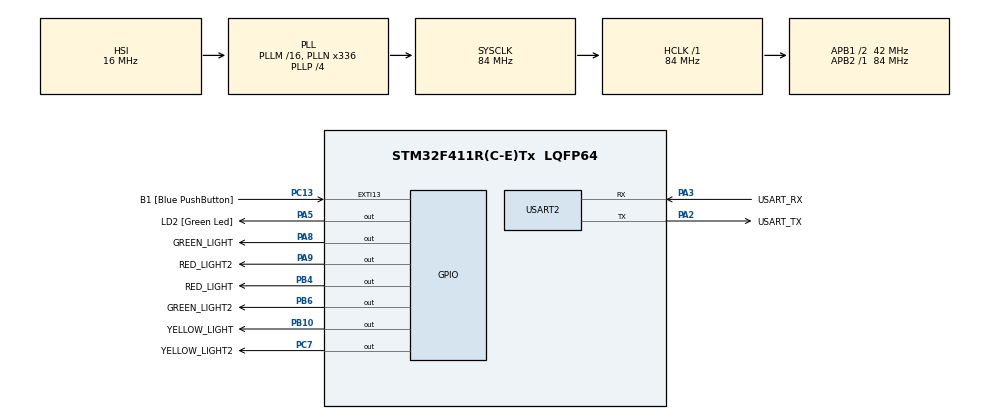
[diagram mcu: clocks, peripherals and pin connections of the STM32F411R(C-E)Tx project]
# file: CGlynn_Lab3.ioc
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FREERTOS.Tasks01=trafficLight,24,128,StartTrafficLight,Default,NULL,Dynamic,NULL,NULL
Mcu.Family=STM32F4
Mcu.Name=STM32F411R(C-E)Tx
Mcu.Package=LQFP64
NVIC.PriorityGroup=NVIC_PRIORITYGROUP_4
NVIC.TIM5_IRQn=true\:15\:0\:false\:false\:true\:false\:false\:true\:true
NVIC.TimeBase=TIM5_IRQn
NVIC.TimeBaseIP=TIM5
PA13.GPIO_Label=TMS
PA13.Mode=Serial_Wire
PA13.Signal=SYS_JTMS-SWDIO
PA14.GPIO_Label=TCK
PA14.Mode=Serial_Wire
PA14.Signal=SYS_JTCK-SWCLK
PA2.GPIO_Label=USART_TX
PA2.Mode=Asynchronous
PA2.Signal=USART2_TX
PA3.GPIO_Label=USART_RX
PA3.Mode=Asynchronous
PA3.Signal=USART2_RX
PA5.GPIO_Label=LD2 [Green Led]
PA5.Signal=GPIO_Output
PA8.GPIO_Label=GREEN_LIGHT
PA8.Signal=GPIO_Output
PA9.GPIO_Label=RED_LIGHT2
PA9.Signal=GPIO_Output
PB10.GPIO_Label=YELLOW_LIGHT
PB10.Signal=GPIO_Output
PB3.GPIO_Label=SWO
PB3.Signal=SYS_JTDO-SWO
PB4.GPIO_Label=RED_LIGHT
PB4.Signal=GPIO_Output
PB6.GPIO_Label=GREEN_LIGHT2
PB6.Signal=GPIO_Output
PC13-ANTI_TAMP.GPIO_Label=B1 [Blue PushButton]
PC13-ANTI_TAMP.GPIO_ModeDefaultEXTI=GPIO_MODE_IT_FALLING
PC13-ANTI_TAMP.Signal=GPXTI13
PC14-OSC32_IN.Mode=LSE-External-Oscillator
PC14-OSC32_IN.Signal=RCC_OSC32_IN
PC15-OSC32_OUT.Mode=LSE-External-Oscillator
PC15-OSC32_OUT.Signal=RCC_OSC32_OUT
PC7.GPIO_Label=YELLOW_LIGHT2
PC7.Signal=GPIO_Output
PH0\ -\ OSC_IN.Mode=HSE-External-Clock-Source
PH0\ -\ OSC_IN.Signal=RCC_OSC_IN
PH1\ -\ OSC_OUT.Mode=HSE-External-Clock-Source
PH1\ -\ OSC_OUT.Signal=RCC_OSC_OUT
ProjectManager.HeapSize=0x200
ProjectManager.StackSize=0x400
ProjectManager.TargetToolchain=STM32CubeIDE
RCC.48MHZClocksFreq_Value=84000000
RCC.AHBFreq_Value=84000000
RCC.APB1CLKDivider=RCC_HCLK_DIV2
RCC.APB1Freq_Value=42000000
RCC.APB1TimFreq_Value=84000000
RCC.APB2Freq_Value=84000000
RCC.APB2TimFreq_Value=84000000
RCC.CortexFreq_Value=84000000
RCC.FLatency-AdvancedSettings=FLASH_LATENCY_2
RCC.HCLKFreq_Value=84000000
RCC.HSE_VALUE=8000000
RCC.HSI_VALUE=16000000
RCC.PLLN=336
RCC.PLLP=RCC_PLLP_DIV4
RCC.SYSCLKFreq_VALUE=84000000
RCC.SYSCLKSource=RCC_SYSCLKSOURCE_PLLCLK
RCC.VCOOutputFreq_Value=336000000
USART2.VirtualMode=VM_ASYNC
VP_FREERTOS_VS_CMSIS_V2.Mode=CMSIS_V2
VP_SYS_VS_tim5.Mode=TIM5
board=NUCLEO-F411RE

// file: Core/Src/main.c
/* USER CODE BEGIN Header */
/**
  ******************************************************************************
  * @file           : main.c
  * @brief          : Main program body
  ******************************************************************************
  * @attention
  *
  * Copyright (c) 2023 STMicroelectronics.
  * All rights reserved.
  *
  * This software is licensed under terms that can be found in the LICENSE file
  * in the root directory of this software component.
  * If no LICENSE file comes with this software, it is provided AS-IS.
  *
  ******************************************************************************
  */
/* USER CODE END Header */
#include "main.h"
#include "cmsis_os.h"

UART_HandleTypeDef huart2;

/* Definitions for trafficLight */
osThreadId_t trafficLightHandle;
const osThreadAttr_t trafficLight_attributes = {
  .name = "trafficLight",
  .stack_size = 128 * 4,
  .priority = (osPriority_t) osPriorityNormal,
};

void SystemClock_Config(void);
static void MX_GPIO_Init(void);
static void MX_USART2_UART_Init(void);
void StartTrafficLight(void *argument);

int main(void)
{

  /* MCU Configuration--------------------------------------------------------*/

  /* Reset of all peripherals, Initializes the Flash interface and the Systick. */
  HAL_Init();

  /* Configure the system clock */
  SystemClock_Config();

  /* Initialize all configured peripherals */
  MX_GPIO_Init();
  MX_USART2_UART_Init();

  /* Init scheduler */
  osKernelInitialize();

  /* Create the thread(s) */
  /* creation of trafficLight */
  trafficLightHandle = osThreadNew(StartTrafficLight, NULL, &trafficLight_attributes);

  /* Start scheduler */
  osKernelStart();
  /* We should never get here as control is now taken by the scheduler */
  /* Infinite loop */
  while (1)
  {

  }
}

void SystemClock_Config(void)
{
  RCC_OscInitTypeDef RCC_OscInitStruct = {0};
  RCC_ClkInitTypeDef RCC_ClkInitStruct = {0};

  /** Configure the main internal regulator output voltage
  */
  __HAL_RCC_PWR_CLK_ENABLE();
  __HAL_PWR_VOLTAGESCALING_CONFIG(PWR_REGULATOR_VOLTAGE_SCALE1);

  /** Initializes the RCC Oscillators according to the specified parameters
  * in the RCC_OscInitTypeDef structure.
  */
  RCC_OscInitStruct.OscillatorType = RCC_OSCILLATORTYPE_HSI;
  RCC_OscInitStruct.HSIState = RCC_HSI_ON;
  RCC_OscInitStruct.HSICalibrationValue = RCC_HSICALIBRATION_DEFAULT;
  RCC_OscInitStruct.PLL.PLLState = RCC_PLL_ON;
  RCC_OscInitStruct.PLL.PLLSource = RCC_PLLSOURCE_HSI;
  RCC_OscInitStruct.PLL.PLLM = 16;
  RCC_OscInitStruct.PLL.PLLN = 336;
  RCC_OscInitStruct.PLL.PLLP = RCC_PLLP_DIV4;
  RCC_OscInitStruct.PLL.PLLQ = 4;
  if (HAL_RCC_OscConfig(&RCC_OscInitStruct) != HAL_OK)
  {
    Error_Handler();
  }

  /** Initializes the CPU, AHB and APB buses clocks
  */
  RCC_ClkInitStruct.ClockType = RCC_CLOCKTYPE_HCLK|RCC_CLOCKTYPE_SYSCLK
                              |RCC_CLOCKTYPE_PCLK1|RCC_CLOCKTYPE_PCLK2;
  RCC_ClkInitStruct.SYSCLKSource = RCC_SYSCLKSOURCE_PLLCLK;
  RCC_ClkInitStruct.AHBCLKDivider = RCC_SYSCLK_DIV1;
  RCC_ClkInitStruct.APB1CLKDivider = RCC_HCLK_DIV2;
  RCC_ClkInitStruct.APB2CLKDivider = RCC_HCLK_DIV1;

  if (HAL_RCC_ClockConfig(&RCC_ClkInitStruct, FLASH_LATENCY_2) != HAL_OK)
  {
    Error_Handler();
  }
}

static void MX_USART2_UART_Init(void)
{

  huart2.Instance = USART2;
  huart2.Init.BaudRate = 115200;
  huart2.Init.WordLength = UART_WORDLENGTH_8B;
  huart2.Init.StopBits = UART_STOPBITS_1;
  huart2.Init.Parity = UART_PARITY_NONE;
  huart2.Init.Mode = UART_MODE_TX_RX;
  huart2.Init.HwFlowCtl = UART_HWCONTROL_NONE;
  huart2.Init.OverSampling = UART_OVERSAMPLING_16;
  if (HAL_UART_Init(&huart2) != HAL_OK)
  {
    Error_Handler();
  }

}

static void MX_GPIO_Init(void)
{
  GPIO_InitTypeDef GPIO_InitStruct = {0};

  /* GPIO Ports Clock Enable */
  __HAL_RCC_GPIOC_CLK_ENABLE();
  __HAL_RCC_GPIOH_CLK_ENABLE();
  __HAL_RCC_GPIOA_CLK_ENABLE();
  __HAL_RCC_GPIOB_CLK_ENABLE();

  /*Configure GPIO pin Output Level */
  HAL_GPIO_WritePin(GPIOA, LD2_Pin|GREEN_LIGHT_Pin|RED_LIGHT2_Pin, GPIO_PIN_RESET);

  /*Configure GPIO pin Output Level */
  HAL_GPIO_WritePin(GPIOB, YELLOW_LIGHT_Pin|RED_LIGHT_Pin|GREEN_LIGHT2_Pin, GPIO_PIN_RESET);

  /*Configure GPIO pin Output Level */
  HAL_GPIO_WritePin(YELLOW_LIGHT2_GPIO_Port, YELLOW_LIGHT2_Pin, GPIO_PIN_RESET);

  /*Configure GPIO pin : B1_Pin */
  GPIO_InitStruct.Pin = B1_Pin;
  GPIO_InitStruct.Mode = GPIO_MODE_IT_FALLING;
  GPIO_InitStruct.Pull = GPIO_NOPULL;
  HAL_GPIO_Init(B1_GPIO_Port, &GPIO_InitStruct);

  /*Configure GPIO pins : LD2_Pin GREEN_LIGHT_Pin RED_LIGHT2_Pin */
  GPIO_InitStruct.Pin = LD2_Pin|GREEN_LIGHT_Pin|RED_LIGHT2_Pin;
  GPIO_InitStruct.Mode = GPIO_MODE_OUTPUT_PP;
  GPIO_InitStruct.Pull = GPIO_NOPULL;
  GPIO_InitStruct.Speed = GPIO_SPEED_FREQ_LOW;
  HAL_GPIO_Init(GPIOA, &GPIO_InitStruct);

  /*Configure GPIO pins : YELLOW_LIGHT_Pin RED_LIGHT_Pin GREEN_LIGHT2_Pin */
  GPIO_InitStruct.Pin = YELLOW_LIGHT_Pin|RED_LIGHT_Pin|GREEN_LIGHT2_Pin;
  GPIO_InitStruct.Mode = GPIO_MODE_OUTPUT_PP;
  GPIO_InitStruct.Pull = GPIO_NOPULL;
  GPIO_InitStruct.Speed = GPIO_SPEED_FREQ_LOW;
  HAL_GPIO_Init(GPIOB, &GPIO_InitStruct);

  /*Configure GPIO pin : YELLOW_LIGHT2_Pin */
  GPIO_InitStruct.Pin = YELLOW_LIGHT2_Pin;
  GPIO_InitStruct.Mode = GPIO_MODE_OUTPUT_PP;
  GPIO_InitStruct.Pull = GPIO_NOPULL;
  GPIO_InitStruct.Speed = GPIO_SPEED_FREQ_LOW;
  HAL_GPIO_Init(YELLOW_LIGHT2_GPIO_Port, &GPIO_InitStruct);

}

void StartTrafficLight(void *argument)
{
  /* USER CODE BEGIN 5 */
	HAL_GPIO_WritePin(GPIOA, RED_LIGHT2_Pin, GPIO_PIN_SET);	//RED2 initially set to on
  /* Infinite loop */
  for(;;)
  {
	  /*  LIGHT 1 CONTROLLER  */
	  HAL_GPIO_WritePin(GPIOA, RED_LIGHT_Pin, GPIO_PIN_RESET);		// RED1 turned off

	  HAL_GPIO_WritePin(GPIOA, GREEN_LIGHT_Pin, GPIO_PIN_SET);		// GREEN1 turned on
	  osDelay(4000);												// 4s delay
	  HAL_GPIO_WritePin(GPIOA, GREEN_LIGHT_Pin, GPIO_PIN_RESET);	// GREEN1 turned off

	  HAL_GPIO_WritePin(GPIOA, YELLOW_LIGHT_Pin, GPIO_PIN_SET);		// YELLOW1 turned on
	  osDelay(1500);												// 1.5s delay
	  HAL_GPIO_WritePin(GPIOA, YELLOW_LIGHT_Pin, GPIO_PIN_RESET);	// YELLOW1 turned off

	  HAL_GPIO_WritePin(GPIOA, RED_LIGHT_Pin, GPIO_PIN_SET);		// RED1 turned on
	  osDelay(1000);												// 1s delay

	  /*  LIGHT 2 CONTROLLER  */
	  HAL_GPIO_WritePin(GPIOA, RED_LIGHT2_Pin, GPIO_PIN_RESET);		// RED2 turned off

	  HAL_GPIO_WritePin(GPIOA, GREEN_LIGHT2_Pin, GPIO_PIN_SET);		// GREEN2 turned on
	  osDelay(4000);												// 4s delay
	  HAL_GPIO_WritePin(GPIOA, GREEN_LIGHT2_Pin, GPIO_PIN_RESET);	// GREEN2 turned off

	  HAL_GPIO_WritePin(GPIOA, YELLOW_LIGHT2_Pin, GPIO_PIN_SET);	// YELLOW2 turned on
	  osDelay(1500);												// 1.5s delay
	  HAL_GPIO_WritePin(GPIOA, YELLOW_LIGHT2_Pin, GPIO_PIN_RESET);	// YELLOW2 turned off

	  HAL_GPIO_WritePin(GPIOA, RED_LIGHT2_Pin, GPIO_PIN_SET);		// RED2 turned on
	  osDelay(1000);												// 1s delay
  }
  /* USER CODE END 5 */
}

void HAL_TIM_PeriodElapsedCallback(TIM_HandleTypeDef *htim)
{
  if (htim->Instance == TIM5) {
    HAL_IncTick();
  }
}

void Error_Handler(void)
{
  __disable_irq();
  while (1)
  {
  }
}
